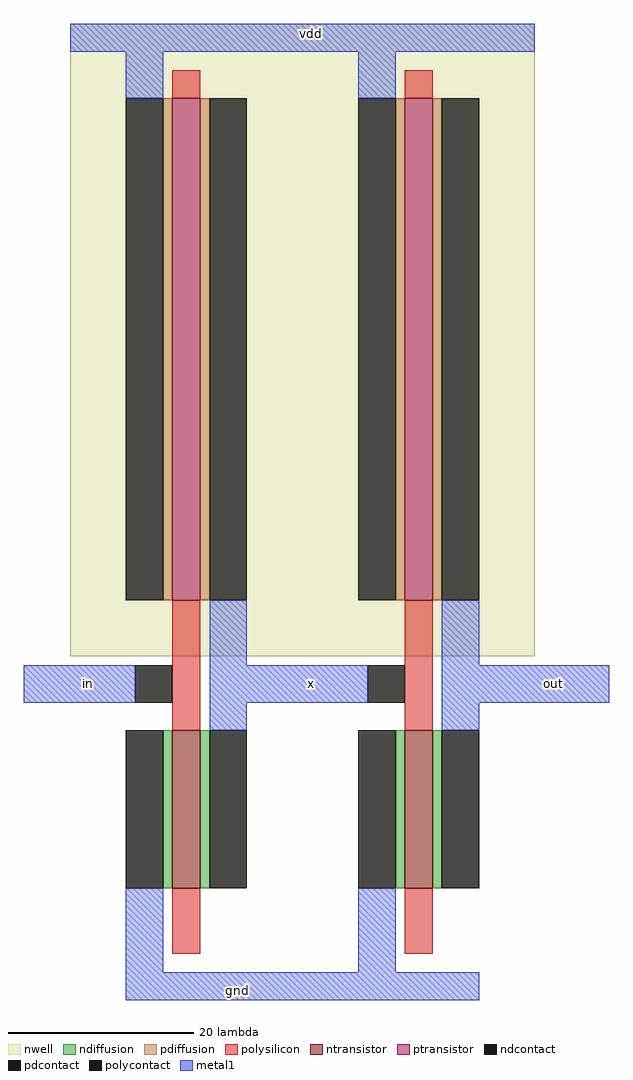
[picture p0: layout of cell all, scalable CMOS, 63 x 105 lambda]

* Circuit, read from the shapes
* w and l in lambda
.subckt all gnd in out vdd x
M1 x in gnd VSUBS nfet w=17 l=3
M2 out x gnd VSUBS nfet w=17 l=3
M3 x in vdd n1 pfet w=54 l=3
M4 out x vdd n1 pfet w=54 l=3
.ends

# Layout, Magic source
magic
tech scmos
<< nwell >>
rect -1 0 49 68
<< ntransistor >>
rect 10 -25 13 -8
rect 35 -25 38 -8
<< ptransistor >>
rect 10 6 13 60
rect 35 6 38 60
<< ndiffusion >>
rect 9 -25 10 -8
rect 13 -25 14 -8
rect 34 -25 35 -8
rect 38 -25 39 -8
<< pdiffusion >>
rect 9 6 10 60
rect 13 6 14 60
rect 34 6 35 60
rect 38 6 39 60
<< ndcontact >>
rect 5 -25 9 -8
rect 14 -25 18 -8
rect 30 -25 34 -8
rect 39 -25 43 -8
<< pdcontact >>
rect 5 6 9 60
rect 14 6 18 60
rect 30 6 34 60
rect 39 6 43 60
<< polysilicon >>
rect 10 60 13 63
rect 35 60 38 63
rect 10 -8 13 6
rect 35 -8 38 6
rect 10 -32 13 -25
rect 35 -32 38 -25
<< polycontact >>
rect 6 -5 10 -1
rect 31 -5 35 -1
<< metal1 >>
rect -1 65 49 68
rect 5 60 9 65
rect 30 60 34 65
rect 14 -1 18 6
rect 39 -1 43 6
rect -6 -5 6 -1
rect 14 -5 31 -1
rect 39 -5 57 -1
rect 14 -8 18 -5
rect 39 -8 43 -5
rect 5 -34 9 -25
rect 30 -34 34 -25
rect 5 -37 43 -34
<< labels >>
rlabel metal1 1 -3 1 -3 1 in
rlabel metal1 25 -3 25 -3 1 x
rlabel metal1 51 -3 51 -3 1 out
rlabel metal1 25 67 25 67 5 vdd
rlabel metal1 17 -36 17 -36 1 gnd
<< end >>
